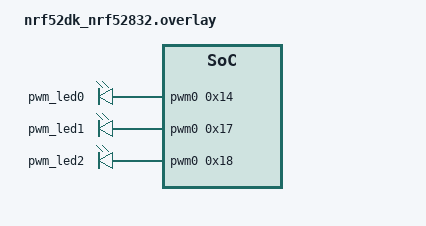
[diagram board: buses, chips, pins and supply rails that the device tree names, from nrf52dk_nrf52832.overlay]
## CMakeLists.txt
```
# SPDX-License-Identifier: Apache-2.0

cmake_minimum_required(VERSION 3.13.1)

find_package(Zephyr REQUIRED HINTS $ENV{ZEPHYR_BASE})
project(minimal)
set(DTC_OVERLAY_FILE "nrf52dk_nrf52832.overlay")
target_sources(app PRIVATE src/main.c
    src/bluetooth.c)
```

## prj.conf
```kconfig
# Drivers and peripherals
CONFIG_GPIO=y

CONFIG_PRINTK=y

CONFIG_BT=y
CONFIG_BT_PERIPHERAL=y

CONFIG_BT_DEVICE_NAME="LED BT"
CONFIG_DK_LIBRARY=y

# Enable PWM
CONFIG_PWM=y
```

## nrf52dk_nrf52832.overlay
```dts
/ {	
	pwmleds {
		compatible = "pwm-leds";
		pwm_led0: pwm_led_0 {
			pwms = < &pwm0 0x14 >;
		};
		pwm_led1: pwm_led_1 {
			pwms = < &pwm0 0x17 >;
		};
		pwm_led2: pwm_led_2 {
			pwms = < &pwm0 0x18 >;
		};
	};
	soc {
		pwm0: pwm@4001c000 {
			ch0-pin = < 0x14 >;
			ch0-inverted;
			ch1-pin = < 0x17 >;
			ch1-inverted;
			ch2-pin = < 0x18 >;
			ch2-inverted;
		};
	};
	aliases {
		pwm-led1 = &pwm_led1;
		pwm-led2 = &pwm_led2;
	};
};	
```

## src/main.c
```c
/*
 * Copyright (c) 2019 Nordic Semiconductor ASA
 *
 * SPDX-License-Identifier: Apache-2.0
 */

#include <zephyr.h>
#include "bluetooth.h"
#include <sys/printk.h>
#include <drivers/gpio.h>
#include <soc.h>
#include <zephyr/types.h>

#include <bluetooth/bluetooth.h>
#include <bluetooth/hci.h>
#include <bluetooth/conn.h>
#include <bluetooth/uuid.h>
#include <bluetooth/gatt.h>
#include <dk_buttons_and_leds.h>

#define DEVICE_NAME     CONFIG_BT_DEVICE_NAME
#define DEVICE_NAME_LENGTH     (sizeof(DEVICE_NAME) -1)

#define RUN_STATUS_LED          DK_LED1
#define CON_STATUS_LED          DK_LED2
#define RUN_LED_BLINK_INTERVAL  1000
#define USER_LED          DK_LED3

/*PWM0*/
#include <drivers/pwm.h>
const struct device *pwm;
uint32_t data;
#define PWM_LED0_NODE	DT_ALIAS(pwm_led0)

#if !DT_NODE_HAS_STATUS(PWM_LED0_NODE, okay)
#error "Unsupported board: pwm-servo devicetree alias is not defined or enabled"
#define PWM_LABEL ""
#else
#define PWM_LABEL	DT_PWMS_LABEL(PWM_LED0_NODE)
#define PWM_CHANNEL	DT_PWMS_CHANNEL(PWM_LED0_NODE)
#define PWM_FLAGS	DT_PWMS_FLAGS(PWM_LED0_NODE)
#endif
#define PERIOD_USEC	(200U * USEC_PER_MSEC)

static const struct bt_data sd[] = {
    BT_DATA_BYTES(BT_DATA_UUID128_ALL, BT_UUID_SERVICE_VAL),
};

static const struct bt_data ad[] = {
    BT_DATA_BYTES(BT_DATA_FLAGS, (BT_LE_AD_GENERAL | BT_LE_AD_NO_BREDR)),
    BT_DATA(BT_DATA_NAME_COMPLETE, DEVICE_NAME, DEVICE_NAME_LENGTH),
};

static void connected(struct bt_conn *conn, uint8_t err)
{
	if (err) {
		printk("Connection failed (err %u)\n", err);
		return;
	}

	printk("Connected\n");

	dk_set_led_on(CON_STATUS_LED);
}

static void disconnected(struct bt_conn *conn, uint8_t reason)
{
	printk("Disconnected (reason %u)\n", reason);

	dk_set_led_off(CON_STATUS_LED);
}



static struct bt_conn_cb conn_callbacks = {
	.connected        = connected,
	.disconnected     = disconnected,
};
//PWM set
void pwm_set(uint32_t val){
        int ret;
        int dutyCycle = (PERIOD_USEC * val) / 100;
        ret = pwm_pin_set_usec(pwm, PWM_CHANNEL, PERIOD_USEC, dutyCycle, PWM_FLAGS);
}

//Calling the callback 
static void app_pwm_cb(uint32_t data_BT){
    if(data_BT >= 0 && data_BT <= 100){
        pwm_set(data_BT);
    }
    else{
      printk("Invalid duty cycle number.")
    }
}

static struct bt_pwmService_cb service_callbacks = {
    .pwm_cb = app_pwm_cb,
};

void main(void)
{
    int blinkStatus = 0;
    int err;
    err = dk_leds_init();

    if(err){
        printk("Leds init failed (err %d) \n", err);
        return;
    }
     
	printk("Starting Bluetooth PWM template\n");

        /*PWM INIT*/
        pwm = device_get_binding(PWM_LABEL);
	if (!pwm) {
		printk("Error: didn't find %s device\n", PWM_LABEL);
		return;
	}

    bt_conn_cb_register(&conn_callbacks);

    err = bt_enable(NULL);
       if(err){
        printk("Bluetooth init failed (err %d) \n", err);
        return;
    }
    
    printk("Bluetooth initialized\n");


	err = bt_pwmService_init(&service_callbacks);
	if (err) {
		printk("Failed to init PWM service (err:%d)\n", err);
		return;
	}

	err = bt_le_adv_start(BT_LE_ADV_CONN, ad, ARRAY_SIZE(ad),
			      sd, ARRAY_SIZE(sd));
	if (err) {
		printk("Advertising failed to start (err %d)\n", err);
		return;
	}

	printk("Advertising successfully started\n");

	for (;;) {
		dk_set_led(RUN_STATUS_LED, (++blinkStatus) % 2);
		k_sleep(K_MSEC(RUN_LED_BLINK_INTERVAL));
	}
}
```

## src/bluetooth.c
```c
#include <sys/printk.h>
#include <zephyr.h>
#include <zephyr/types.h>

#include "bluetooth.h"
#include <bluetooth/bluetooth.h>
#include <bluetooth/hci.h>
#include <bluetooth/conn.h>
#include <bluetooth/uuid.h>
#include <bluetooth/gatt.h>

static struct bt_pwmService_cb pwmService_cb;

static ssize_t writeDuty(struct bt_conn *conn, const struct bt_gatt_attr *attr, const void *buf, uint16_t len, uint16_t offset, uint8_t flags){
    if(pwmService_cb.pwm_cb){
        pwmService_cb.pwm_cb(*(uint32_t *)buf);
    }
    return len;
}

BT_GATT_SERVICE_DEFINE(pwmService,
BT_GATT_PRIMARY_SERVICE(BT_UUID_SERVICE),
BT_GATT_CHARACTERISTIC(BT_UUID_PWM, BT_GATT_CHRC_WRITE, BT_GATT_PERM_WRITE, NULL, writeDuty, NULL),
);

int bt_pwmService_init(struct bt_pwmService_cb *callbacks){
    if (callbacks){
        pwmService_cb.pwm_cb = callbacks->pwm_cb;
    }
    return 0;
}
```

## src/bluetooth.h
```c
#include <zephyr/types.h>

//UUID service declaration
#define BT_UUID_SERVICE_VAL BT_UUID_128_ENCODE(0x00001526, 0x1212, 0xefde, 0x1523, 0x785feabcd123)
#define BT_UUID_SERVICE BT_UUID_DECLARE_128 (BT_UUID_SERVICE_VAL)

//UUID Led characteristic declaration
#define BT_UUID_PWM_VAL BT_UUID_128_ENCODE(0x00001527, 0x1212, 0xefde, 0x1523, 0x785feabcd123)
#define BT_UUID_PWM BT_UUID_DECLARE_128 (BT_UUID_PWM_VAL)

//Callback declaration
typedef void (*pwm_cb_t) (uint32_t ledState);
struct bt_pwmService_cb{pwm_cb_t pwm_cb;};

int bt_pwmService_init (struct bt_pwmService_cb *callbacks);
```
